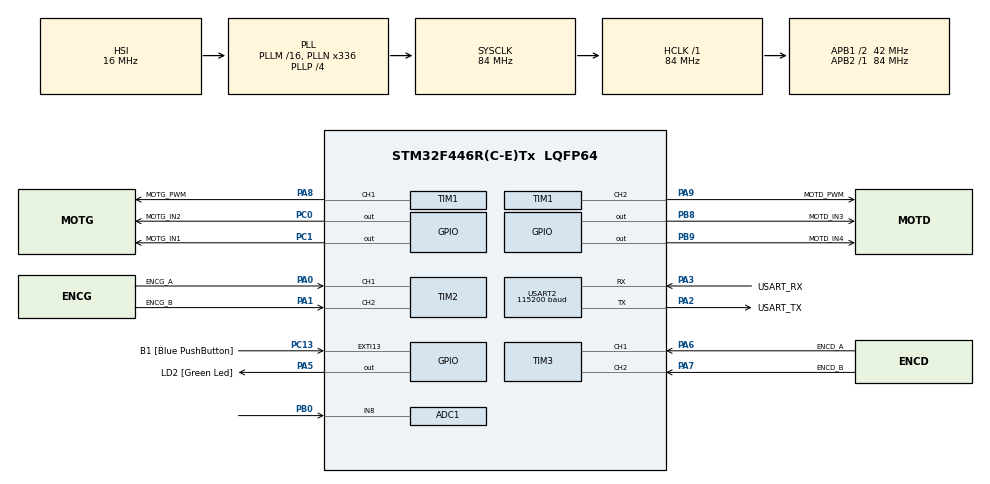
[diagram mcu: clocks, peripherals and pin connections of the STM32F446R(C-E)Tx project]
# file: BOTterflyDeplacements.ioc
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ADC1.Channel-0\#ChannelRegularConversion=ADC_CHANNEL_8
ADC1.ContinuousConvMode=ENABLE
ADC1.DMAContinuousRequests=DISABLE
ADC1.EOCSelection=ADC_EOC_SEQ_CONV
ADC1.NbrOfConversionFlag=1
ADC1.Rank-0\#ChannelRegularConversion=1
ADC1.SamplingTime-0\#ChannelRegularConversion=ADC_SAMPLETIME_3CYCLES
ADC1.master=1
Mcu.Family=STM32F4
Mcu.Name=STM32F446R(C-E)Tx
Mcu.Package=LQFP64
NVIC.ADC_IRQn=true\:0\:0\:false\:false\:true\:true\:true
NVIC.EXTI15_10_IRQn=true\:0\:0\:false\:false\:true\:true\:true
NVIC.PriorityGroup=NVIC_PRIORITYGROUP_0
NVIC.TIM6_DAC_IRQn=true\:0\:0\:false\:false\:true\:true\:true
NVIC.USART2_IRQn=true\:0\:0\:false\:false\:true\:true\:true
PA0-WKUP.GPIO_Label=ENCG_A
PA0-WKUP.Signal=S_TIM2_CH1_ETR
PA1.GPIO_Label=ENCG_B
PA1.Signal=S_TIM2_CH2
PA13.GPIO_Label=TMS
PA13.Mode=Serial_Wire
PA13.Signal=SYS_JTMS-SWDIO
PA14.GPIO_Label=TCK
PA14.Mode=Serial_Wire
PA14.Signal=SYS_JTCK-SWCLK
PA2.GPIO_Label=USART_TX
PA2.Mode=Asynchronous
PA2.Signal=USART2_TX
PA3.GPIO_Label=USART_RX
PA3.Mode=Asynchronous
PA3.Signal=USART2_RX
PA5.GPIO_Label=LD2 [Green Led]
PA5.Signal=GPIO_Output
PA6.GPIO_Label=ENCD_A
PA6.Signal=S_TIM3_CH1
PA7.GPIO_Label=ENCD_B
PA7.Signal=S_TIM3_CH2
PA8.GPIO_Label=MOTG_PWM
PA8.Signal=S_TIM1_CH1
PA9.GPIO_Label=MOTD_PWM
PA9.Signal=S_TIM1_CH2
PB0.Signal=ADCx_IN8
PB3.GPIO_Label=SWO
PB3.Signal=SYS_JTDO-SWO
PB8.GPIO_Label=MOTD_IN3
PB8.Signal=GPIO_Output
PB9.GPIO_Label=MOTD_IN4
PB9.Signal=GPIO_Output
PC0.GPIO_Label=MOTG_IN2
PC0.Signal=GPIO_Output
PC1.GPIO_Label=MOTG_IN1
PC1.Signal=GPIO_Output
PC13.GPIO_Label=B1 [Blue PushButton]
PC13.GPIO_ModeDefaultEXTI=GPIO_MODE_IT_FALLING
PC13.Signal=GPXTI13
PC14-OSC32_IN.Mode=LSE-External-Oscillator
PC14-OSC32_IN.Signal=RCC_OSC32_IN
PC15-OSC32_OUT.Mode=LSE-External-Oscillator
PC15-OSC32_OUT.Signal=RCC_OSC32_OUT
PH0-OSC_IN.Mode=HSE-External-Oscillator
PH0-OSC_IN.Signal=RCC_OSC_IN
PH1-OSC_OUT.Mode=HSE-External-Oscillator
PH1-OSC_OUT.Signal=RCC_OSC_OUT
ProjectManager.HeapSize=0x200
ProjectManager.StackSize=0x400
ProjectManager.TargetToolchain=STM32CubeIDE
RCC.48MHZClocksFreq_Value=84000000
RCC.AHBFreq_Value=84000000
RCC.APB1CLKDivider=RCC_HCLK_DIV2
RCC.APB1Freq_Value=42000000
RCC.APB1TimFreq_Value=84000000
RCC.APB2Freq_Value=84000000
RCC.APB2TimFreq_Value=84000000
RCC.CortexFreq_Value=84000000
RCC.FLatency-AdvancedSettings=FLASH_LATENCY_2
RCC.HCLKFreq_Value=84000000
RCC.HSE_VALUE=8000000
RCC.HSI_VALUE=16000000
RCC.PLLN=336
RCC.PLLP=RCC_PLLP_DIV4
RCC.SYSCLKFreq_VALUE=84000000
RCC.SYSCLKSource=RCC_SYSCLKSOURCE_PLLCLK
RCC.USBFreq_Value=168000000
RCC.VCOOutputFreq_Value=336000000
SH.ADCx_IN8.0=ADC1_IN8,IN8
SH.S_TIM1_CH1.0=TIM1_CH1,PWM Generation1 CH1
SH.S_TIM1_CH2.0=TIM1_CH2,PWM Generation2 CH2
SH.S_TIM2_CH1_ETR.0=TIM2_CH1,Encoder_Interface
SH.S_TIM2_CH2.0=TIM2_CH2,Encoder_Interface
SH.S_TIM3_CH1.0=TIM3_CH1,Encoder_Interface
SH.S_TIM3_CH2.0=TIM3_CH2,Encoder_Interface
TIM1.Channel-PWM\ Generation1\ CH1=TIM_CHANNEL_1
TIM1.Channel-PWM\ Generation2\ CH2=TIM_CHANNEL_2
TIM1.OCFastMode_PWM-PWM\ Generation1\ CH1=TIM_OCFAST_DISABLE
TIM1.Period=3360-1
TIM1.Prescaler=0
TIM1.Pulse-PWM\ Generation1\ CH1=0
TIM2.AutoReloadPreload=TIM_AUTORELOAD_PRELOAD_ENABLE
TIM2.EncoderMode=TIM_ENCODERMODE_TI12
TIM2.IC1Filter=0
TIM2.IC2Filter=0
TIM3.EncoderMode=TIM_ENCODERMODE_TI12
TIM3.IC1Filter=0
TIM3.IC2Filter=0
TIM6.Period=200
TIM6.Prescaler=8400-1
USART2.BaudRate=115200
USART2.VirtualMode=VM_ASYNC
VP_TIM1_VS_ClockSourceINT.Mode=Internal
VP_TIM6_VS_ClockSourceINT.Mode=Enable_Timer
board=NUCLEO-F446RE

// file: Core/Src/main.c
/* USER CODE BEGIN Header */
/**
 ******************************************************************************
 * @file           : main.c
 * @brief          : Main program body
 ******************************************************************************
 * @attention
 *
 * <h2><center>&copy; Copyright (c) 2021 STMicroelectronics.
 * All rights reserved.</center></h2>
 *
 * This software component is licensed by ST under BSD 3-Clause license,
 * the "License"; You may not use this file except in compliance with the
 * License. You may obtain a copy of the License at:
 *                        opensource.org/licenses/BSD-3-Clause
 *
 ******************************************************************************
 */
/* USER CODE END Header */
#include "main.h"
#include "adc.h"
#include "tim.h"
#include "usart.h"
#include "gpio.h"

/* USER CODE BEGIN Includes */
#include "stdio.h"
#include "stdlib.h"
#include <BOTterfly-H/modules.h>
#include <BOTterfly-H/shell.h>
#include <BOTterfly-H/motor.h>
#include <BOTterfly-H/asserv_vit.h>
#include <BOTterfly-H/asserv_pos.h>
#include <BOTterfly-H/strategy.h>
/* USER CODE END Includes */

/* USER CODE BEGIN PV */
uint8_t testStart = 0;
uint8_t reglage = 0;
uint32_t cpt = 0;
uint8_t bTypeAsserv = 0;

int16_t tckGauche = 0;
int16_t tckDroite = 0;
/* USER CODE END PV */

void SystemClock_Config(void);

/* USER CODE BEGIN 0 */

int start(int argc, char ** argv){
	testStart = 1;
	return 0;
}

int stop(int argc, char ** argv){
	testStart = 0;
	return 0;
}

int target(int argc, char ** argv){
	if(argc == 3){
		float x = atof(argv[1]);
		float y = atof(argv[2]);
		setTargetX((double)x);
		setTargetY((double)y);
	}

	return 0;
}

/* USER CODE END 0 */

int main(void)
{

	/* MCU Configuration--------------------------------------------------------*/

	/* Reset of all peripherals, Initializes the Flash interface and the Systick. */
	HAL_Init();

	/* Configure the system clock */
	SystemClock_Config();

	/* Initialize all configured peripherals */
	MX_GPIO_Init();
	MX_USART2_UART_Init();
	MX_TIM1_Init();
	MX_TIM2_Init();
	MX_TIM6_Init();
	MX_ADC1_Init();
	MX_TIM3_Init();
	/* USER CODE BEGIN 2 */

	/* Initialisation du shell ---------------------------------------------------*/
	shell_init(&huart2);
	shell_add("start", start, "Demarrage");
	shell_add("stop", stop, "Arret");
	shell_add("target", target, "Mise a jour de la position cible");

	/* Fin initialisation du shell -----------------------------------------------*/

	/* Initialisation des moteurs ------------------------------------------------*/

	/* Moteur Gauche */
	MOT_InitTimer(&MoteurGauche, &htim1, TIM_CHANNEL_1); // PA8(D7)
	MOT_InitGPIOs(&MoteurGauche, GPIOC, GPIO_PIN_1, GPIOC, GPIO_PIN_0); // IN1:PC0 & IN2:PC1
	MOT_SetCoeff(&MoteurGauche, 1.2, 0.1);
	MOT_SetDirection(&MoteurGauche, MOT_FUNCTIONS_FORWARD);
	MOT_SetDutyCycle(&MoteurGauche, 0);

	/* Moteur Droite */
	MOT_InitTimer(&MoteurDroite, &htim1, TIM_CHANNEL_2); // PA9(D8)
	MOT_InitGPIOs(&MoteurDroite, GPIOB, GPIO_PIN_8, GPIOB, GPIO_PIN_9); // IN1:PB8 & IN2:PB9
	MOT_SetCoeff(&MoteurDroite, 1.2, 0.1);
	MOT_SetDirection(&MoteurDroite, MOT_FUNCTIONS_FORWARD);
	MOT_SetDutyCycle(&MoteurDroite, 0);

	/* Fin initialisation des moteurs --------------------------------------------*/

	/* Initialisation des encodeurs ----------------------------------------------*/

	/* Encodeur Gauche */
	ENC_InitTimer(&CodeurGauche, &htim2, TIM_CHANNEL_1, TIM_CHANNEL_2); // PhA:PA0 et PhB:PA1
	ENC_SetTicksPerRev(&CodeurGauche, 1364.8);
	CodeurGauche.TicksCoeff = 0.0821596;
	// December 2021 Codeur Gauche Coeff : 0.085430

	/* Encodeur Droite */
	ENC_InitTimer(&CodeurDroite, &htim3, TIM_CHANNEL_1, TIM_CHANNEL_2); // PhA:PA6 et PhB:PA7
	ENC_SetTicksPerRev(&CodeurDroite, 1364.8);
	CodeurDroite.TicksCoeff = 0.0822777;
	// December 2021 Codeur Droite Coeff : 0.084198

	/* Fin initialisation des encodeurs ------------------------------------------*/

	// Initialisation de l'asservissement
	strategyInit();
	vit_SetTimer(&htim6);
	Odo_Init();

	reglage = 0;
	testStart = 0;

	/* USER CODE END 2 */

	/* Infinite loop */
	/* USER CODE BEGIN WHILE */
	while (1)
	{
		//int i = ENC_GetCnt(&CodeurGauche);
		//printf("cpt = %d\r\n",cpt);
		//printf("Ticks = %d\r\n",i);
		//printf("%d\r\n",i);
		//printf("%f\r\n",(float)DISTANCE_PER_TICK);

		if(testStart){

			if(isArrived()){

				if(indexStrategy >= (int)5){
					//bTypeAsserv = 1;
					//setTargetX(200);
					//setTargetY(100);
				} else {
					setTargetX(strategy[indexStrategy].x);
					setTargetY(strategy[indexStrategy].y);
					indexStrategy++;
				}

			}

			/*
			HAL_Delay(8000);
			testStart = 0;
			MOT_SetDutyCycle(&MoteurGauche, 0);
			MOT_SetDutyCycle(&MoteurDroite, 0);
			printf("G: %d\t D: %d\r\n",tckGauche,tckDroite);
			 */

			//ticksGauche = ENC_GetCnt(&CodeurGauche);
			//ticksDroite = ENC_GetCnt(&CodeurDroite);
			//printf("G: %d\t D: %d\r\n",ticksGauche,ticksDroite);

		}

		//printf("G: %d\t D: %d\r\n",ticksGauche,ticksDroite);

		/*
		if(reglage){
			HAL_Delay(1650);
			MOT_SetDutyCycle(&MoteurGauche, 0);
			MOT_SetDutyCycle(&MoteurDroite, 0);
			HAL_Delay(1000);
			int16_t ticksGauche = ENC_GetCnt(&CodeurGauche);
			int16_t ticksDroite = ENC_GetCnt(&CodeurDroite);
			printf("G: %d\t D: %d\r\n",ticksGauche,ticksDroite);
			reglage = 0;
		}
		 */

		//HAL_Delay(1000);

		/* USER CODE END WHILE */

	}
}

void SystemClock_Config(void)
{
	RCC_OscInitTypeDef RCC_OscInitStruct = {0};
	RCC_ClkInitTypeDef RCC_ClkInitStruct = {0};

	/** Configure the main internal regulator output voltage
	 */
	__HAL_RCC_PWR_CLK_ENABLE();
	__HAL_PWR_VOLTAGESCALING_CONFIG(PWR_REGULATOR_VOLTAGE_SCALE3);
	/** Initializes the RCC Oscillators according to the specified parameters
	 * in the RCC_OscInitTypeDef structure.
	 */
	RCC_OscInitStruct.OscillatorType = RCC_OSCILLATORTYPE_HSI;
	RCC_OscInitStruct.HSIState = RCC_HSI_ON;
	RCC_OscInitStruct.HSICalibrationValue = RCC_HSICALIBRATION_DEFAULT;
	RCC_OscInitStruct.PLL.PLLState = RCC_PLL_ON;
	RCC_OscInitStruct.PLL.PLLSource = RCC_PLLSOURCE_HSI;
	RCC_OscInitStruct.PLL.PLLM = 16;
	RCC_OscInitStruct.PLL.PLLN = 336;
	RCC_OscInitStruct.PLL.PLLP = RCC_PLLP_DIV4;
	RCC_OscInitStruct.PLL.PLLQ = 2;
	RCC_OscInitStruct.PLL.PLLR = 2;
	if (HAL_RCC_OscConfig(&RCC_OscInitStruct) != HAL_OK)
	{
		Error_Handler();
	}
	/** Initializes the CPU, AHB and APB buses clocks
	 */
	RCC_ClkInitStruct.ClockType = RCC_CLOCKTYPE_HCLK|RCC_CLOCKTYPE_SYSCLK
			|RCC_CLOCKTYPE_PCLK1|RCC_CLOCKTYPE_PCLK2;
	RCC_ClkInitStruct.SYSCLKSource = RCC_SYSCLKSOURCE_PLLCLK;
	RCC_ClkInitStruct.AHBCLKDivider = RCC_SYSCLK_DIV1;
	RCC_ClkInitStruct.APB1CLKDivider = RCC_HCLK_DIV2;
	RCC_ClkInitStruct.APB2CLKDivider = RCC_HCLK_DIV1;

	if (HAL_RCC_ClockConfig(&RCC_ClkInitStruct, FLASH_LATENCY_2) != HAL_OK)
	{
		Error_Handler();
	}
}

/* USER CODE BEGIN 4 */

void HAL_GPIO_EXTI_Callback(uint16_t GPIO_Pin){
	if(GPIO_Pin == GPIO_PIN_13){
		if(testStart == 0) {
			testStart = 1;
			printf("Debut du test\r\n");
		}
		else {
			testStart = 0;
			printf("Fin du test\r\n");
		}
	}
}

void HAL_UART_RxCpltCallback(UART_HandleTypeDef* huart){
	if(huart->Instance == USART2){
		shell_char_received();
		HAL_UART_Receive_IT(&huart2, (uint8_t*)&c, 1);
	}
}

void HAL_TIM_PeriodElapsedCallback(TIM_HandleTypeDef *htim){
	if(htim->Instance == TIM6){
		if(testStart == 1){

			//Pos_ControlLoop_Smooth();

			if(bTypeAsserv == 0)
				Pos_ControlLoop_2steps();
			else
				Pos_ControlLoop_Smooth();

			/*
			int16_t ticksGauche = ENC_GetCnt(&CodeurGauche);
			vit_SpeedControl(&MoteurGauche, &CodeurGauche, ticksGauche, 80);
			int16_t ticksDroit = ENC_GetCnt(&CodeurDroite);
			vit_SpeedControl(&MoteurDroite, &CodeurDroite, ticksDroit, 80);
			tckGauche = tckGauche + ticksGauche;
			tckDroite = tckDroite + ticksDroit;
			 */

			/*
			float g = vit_SpeedControl(&MoteurGauche, &CodeurGauche, ENC_GetCnt(&CodeurGauche), 100);
			float d = vit_SpeedControl(&MoteurDroite, &CodeurDroite, ENC_GetCnt(&CodeurDroite), 100);
			//printf("g = %.2f\td = %.2f\r\n", g, d);
			printf("%.2f,%.2f\r\n", g, d);
			 */
		}
		else{
			MOT_SetDutyCycle(&MoteurGauche, 0);
			MOT_SetDutyCycle(&MoteurDroite, 0);
		}
	}
}

void HAL_ADC_ConvCpltCallback(ADC_HandleTypeDef* hadc){
	if(hadc->Instance == ADC1){
		//uint32_t val = HAL_ADC_GetValue(&hadc1);
		//printf("val = %ld\r\n", val);
		//HAL_ADC_Start_IT(&hadc1);
	}
}

/* USER CODE END 4 */

void Error_Handler(void)
{
	__disable_irq();
	while (1)
	{
	}
}

/************************ (C) COPYRIGHT STMicroelectronics *****END OF FILE****/
